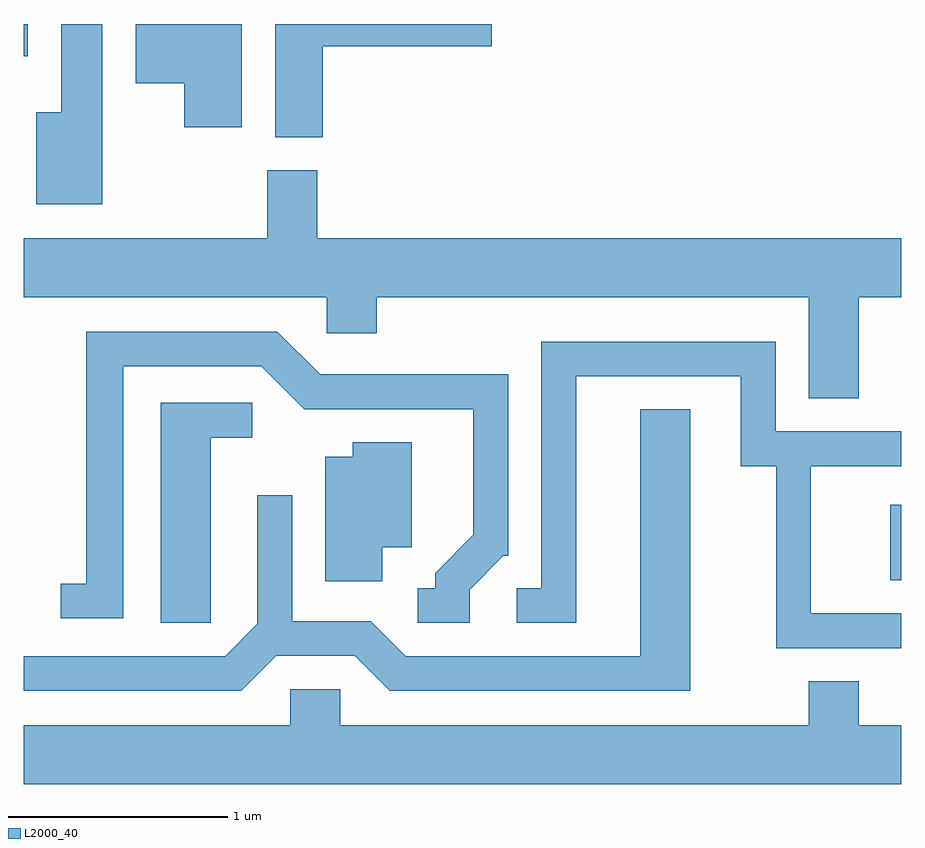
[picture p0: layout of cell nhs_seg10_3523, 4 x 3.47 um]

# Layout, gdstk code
import gdstk
lib = gdstk.Library(unit=1e-6, precision=1e-09)
def R(c, l, rs):  # rectangles x0, y0, x1, y1
    for r in rs: c.add(gdstk.rectangle(r[:2], r[2:], *l))
def P(c, l, *ps):  # polygons
    for p in ps: c.add(gdstk.Polygon(p, *l))
L2000_40 = (2000, 40)

nhs_seg10_3523 = lib.new_cell('nhs_seg10_3523')
R(nhs_seg10_3523, L2000_40, [(293.561,2085.986,293.611,2086.329), (289.611,2088.376,289.629,2088.522)])
P(nhs_seg10_3523, L2000_40, [(290.974,2088.421),(291.744,2088.421),(291.744,2088.522),(290.756,2088.522),(290.756,2088.006),(290.974,2088.006)],
  [(290.604,2088.522),(290.121,2088.522),(290.121,2088.251),(290.341,2088.251),(290.341,2088.051),(290.604,2088.051)],
  [(289.969,2088.522),(289.781,2088.522),(289.781,2088.119),(289.666,2088.119),(289.666,2087.701),(289.969,2087.701)],
  [(293.419,2087.276),(293.611,2087.276),(293.611,2087.544),(290.949,2087.544),(290.949,2087.854),(290.721,2087.854),(290.721,2087.544),(289.611,2087.544),(289.611,2087.276),(290.991,2087.276),(290.991,2087.111),(291.219,2087.111),(291.219,2087.276),(293.191,2087.276),(293.191,2086.816),(293.419,2086.816)],
  [(291.644,2085.943),(291.797,2086.096),(291.819,2086.096),(291.819,2086.924),(290.962,2086.924),(290.767,2087.119),(289.896,2087.119),(289.896,2085.969),(289.778,2085.969),(289.778,2085.811),(290.064,2085.811),(290.064,2086.961),(290.694,2086.961),(290.889,2086.766),(291.661,2086.766),(291.661,2086.192),(291.486,2086.017),(291.486,2085.949),(291.408,2085.949),(291.408,2085.791),(291.644,2085.791)],
  [(293.611,2085.834),(293.199,2085.834),(293.199,2086.506),(293.611,2086.506),(293.611,2086.664),(293.039,2086.664),(293.039,2087.074),(291.971,2087.074),(291.971,2085.949),(291.858,2085.949),(291.858,2085.791),(292.129,2085.791),(292.129,2086.916),(292.881,2086.916),(292.881,2086.506),(293.041,2086.506),(293.041,2085.676),(293.611,2085.676)],
  [(290.464,2086.636),(290.653,2086.636),(290.653,2086.794),(290.236,2086.794),(290.236,2085.791),(290.464,2085.791)],
  [(290.762,2085.641),(291.119,2085.641),(291.279,2085.481),(292.649,2085.481),(292.649,2086.764),(292.421,2086.764),(292.421,2085.639),(291.352,2085.639),(291.192,2085.799),(290.834,2085.799),(290.834,2086.373),(290.676,2086.373),(290.676,2085.787),(290.529,2085.639),(289.611,2085.639),(289.611,2085.481),(290.602,2085.481)],
  [(291.244,2086.136),(291.379,2086.136),(291.379,2086.614),(291.111,2086.614),(291.111,2086.549),(290.986,2086.549),(290.986,2085.981),(291.244,2085.981)],
  [(293.611,2085.324),(293.419,2085.324),(293.419,2085.524),(293.191,2085.524),(293.191,2085.324),(291.054,2085.324),(291.054,2085.489),(290.826,2085.489),(290.826,2085.324),(289.611,2085.324),(289.611,2085.056),(293.611,2085.056)])

lib.write_gds('nhs_seg10_3523.gds')
